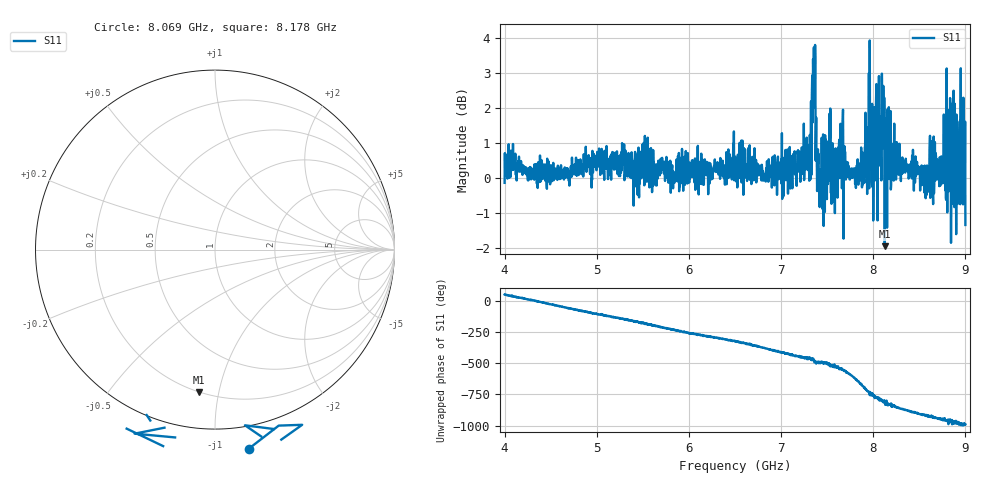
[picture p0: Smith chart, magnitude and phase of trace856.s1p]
! Created with skrf 1.8.0 (http://scikit-rf.org).
# Hz S RI R 50.0
!freq ReS11 ImS11
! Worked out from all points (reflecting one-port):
!   1601 points, 4 GHz to 9 GHz, reference 50 ohm
!   lowest |S11| = -1.9 dB at 8.125 GHz (marker M1), VSWR 9.00, Z = 9.92 - j43.8 ohm
!   phase of S11 starts at 52 deg and turns -1043 deg over the sweep
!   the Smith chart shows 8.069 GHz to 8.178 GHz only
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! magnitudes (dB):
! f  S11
! 4 GHz  -0.1
! 4.094 GHz  0.3
! 4.625 GHz  0.0
! 5.25 GHz  0.1
! 5.875 GHz  0.1
! 6.5 GHz  0.6
! 7.125 GHz  0.6
! 7.306 GHz  -0.1
! 7.356 GHz  3.7
! 7.4 GHz  0.8
! 7.428 GHz  -0.2
! 7.512 GHz  0.7
! 7.572 GHz  0.8
! 7.65 GHz  0.8
! 7.75 GHz  0.2
! 7.878 GHz  -0.3
! 7.962 GHz  3.9
! 8.125 GHz  -1.9
! 8.375 GHz  0.4
! 8.581 GHz  -0.5
! 8.631 GHz  0.0
! 8.728 GHz  -0.2
! 8.816 GHz  0.0
! 8.869 GHz  -0.2
! 8.884 GHz  2.1
! 8.919 GHz  -0.5
! 8.959 GHz  2.0
! 9 GHz  -1.3
